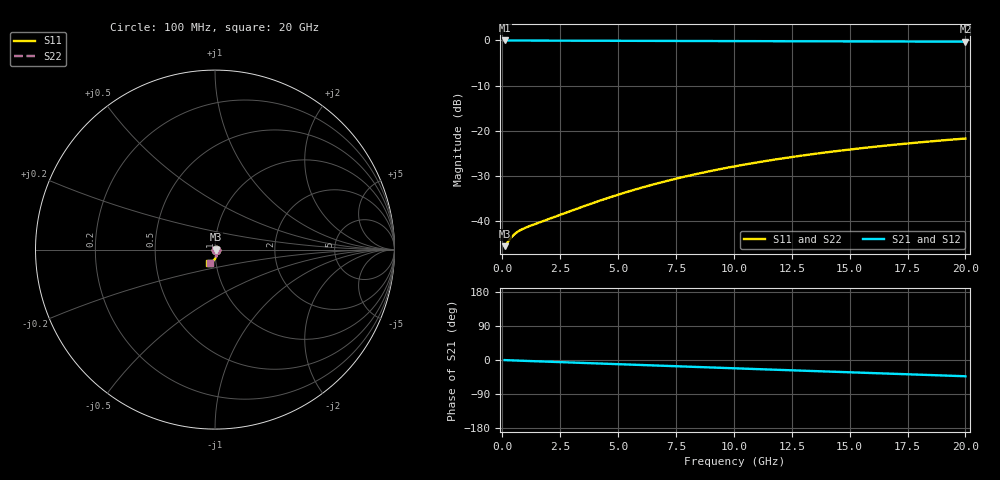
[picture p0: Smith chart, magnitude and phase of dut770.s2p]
! Touchstone file exported from HFSS 2026.1.0
!  File:  C:/ffzhzh/LocalFiles/Ansys_Project_Files/temp_train_TMRDL_770_1783155585_22436.aedt
!  Generated:  05:00:57 PM Jul  4, 2026
!  Design:  TMRDL
!  Project:  temp_train_TMRDL_770_1783155585_22436
! Variables:
!  h_bsmrdl = 2um
!  h_ox = 20um
!  h_rdl = 5um
!  h_sub = 80um
!  h_tmrdl = 3.79um
!  h_tsv = 80um
!  h_via = 3um
!  l_bsmrdl = 300um
!  l_sub = 1172.55um
!  l_tmrdl = 772.55um
!  m_sub = 200um
!  pitch = 16.7um
!  r_tsv = 6um
!  s_tmrdl = 10um
!  w_bsmrdl = 18um
!  w_sub = 500um
!  w_tmrdl = 14.07um
!  x_tsv_center1 = 779.585um
!  x_tsv_center2 = 1097.585um
!  x_tsv_center3 = 1884.205um
!  x_tsv_center4 = 2202.205um
!  x_tsv_center5 = 2988.825um
!  x_tsv_center6 = 3306.825um
# GHz S MA R 50.000000
! Terminal data exported
! Port[1] = TM_RDL1_1_T1
! Port[2] = TM_RDL1_1_T2
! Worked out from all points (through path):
!   200 points, 100 MHz to 20 GHz, reference 50 ohm
!   highest |S21| = -0.05 dB at 100 MHz (marker M1); lowest = -0.3 dB at 20 GHz (marker M2)
!   group delay of S21, straight-line fit = 5.93 ps
!   lowest |S11| = -45.5 dB at 100 MHz (marker M3), VSWR 1.01, Z = 50.5 + j0.0452 ohm
!   |S11| at or under -10 dB: start of sweep to end of sweep
!   |S22| runs from -45.5 to -21.7 dB; largest |S21 - S12| = 2.1e-15
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0.1  0.005308 4.8  0.9947 -0.3  0.9947 -0.3  0.005308 4.8
! Gamma 0 0 0 0
! Port Impedance 50 0 50 0
0.4  0.006693 6.3  0.9934 -1.0  0.9934 -1.0  0.006693 6.3
0.5  0.00711 4.1  0.9929 -1.2  0.9929 -1.2  0.00711 4.1
0.6  0.007464 1.4  0.9925 -1.5  0.9925 -1.5  0.007464 1.4
0.8  0.00803 -4.0  0.992 -1.9  0.992 -1.9  0.008029 -4.0
1  0.008485 -9.2  0.9916 -2.3  0.9916 -2.3  0.008485 -9.2
1.3  0.009094 -16.1  0.9911 -3.0  0.9911 -3.0  0.009094 -16.1
3.5  0.01459 -46.9  0.9886 -7.9  0.9886 -7.9  0.01459 -46.9
4.4  0.01753 -54.2  0.9873 -9.8  0.9873 -9.8  0.01753 -54.2
5.2  0.02039 -59.4  0.9861 -11.6  0.9861 -11.6  0.02039 -59.4
6  0.02344 -63.9  0.9848 -13.3  0.9848 -13.3  0.02344 -63.9
6.8  0.02664 -68.0  0.9835 -15.0  0.9835 -15.0  0.02664 -67.9
7.6  0.02995 -71.6  0.9822 -16.8  0.9822 -16.8  0.02996 -71.6
8.4  0.03335 -75.1  0.9808 -18.5  0.9808 -18.5  0.03336 -75.0
9.2  0.03681 -78.3  0.9795 -20.2  0.9795 -20.2  0.03681 -78.2
10.1  0.04074 -81.7  0.9781 -22.1  0.9781 -22.1  0.04074 -81.6
11.7  0.04776 -87.4  0.9756 -25.5  0.9756 -25.5  0.04777 -87.3
13.4  0.05518 -92.9  0.9731 -29.1  0.9731 -29.1  0.05519 -92.9
15  0.06204 -97.9  0.9708 -32.4  0.9708 -32.4  0.06205 -97.8
16.7  0.06913 -102.9  0.9685 -36.0  0.9685 -36.0  0.06913 -102.8
18.3  0.07557 -107.4  0.9663 -39.4  0.9663 -39.4  0.07557 -107.3
20  0.08212 -112.0  0.964 -42.9  0.964 -42.9  0.08212 -111.9
